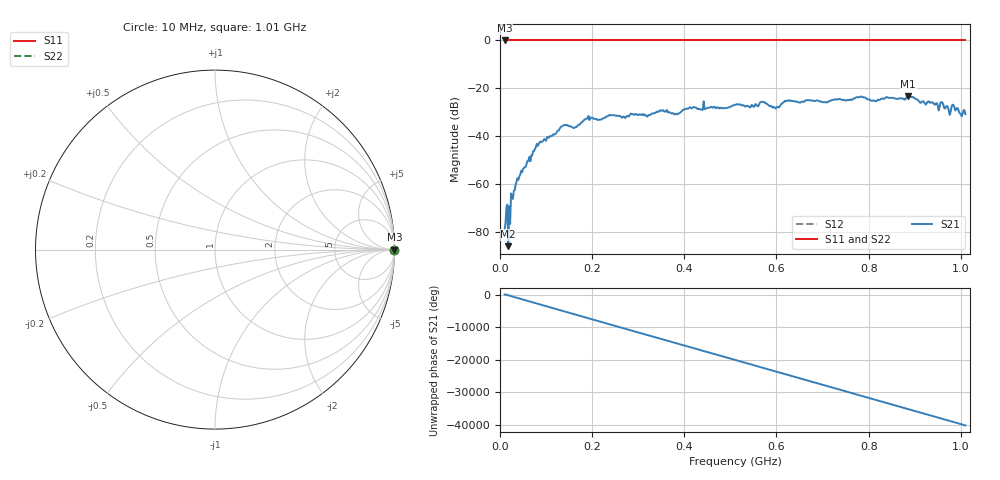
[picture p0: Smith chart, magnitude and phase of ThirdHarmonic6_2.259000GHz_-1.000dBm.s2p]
! 8/17/2025 2:46:35 AM
! C:\ANRITSUVNA\TEMP\TEMP.S2P
! CHANNEL.1
! TR.MEASUREMENT
! RAW.DATA
! RF.CORRECTION.OFF
! AVERAGING.OFF
! IF.BANDWIDTH: 5KHZ
! SWEEPTYPE:  FREQ.SWEEP(Linear)
! Reference Plane Port Info
! PORT:  PORT1  PORT2
! DISTANCE:  0  m  0  m
! TIME:  0  s  0  s
! PHASE.OFFSET:  0  deg.  0  deg.
! LOSS:  0  dB  0  dB
! REF.LOSS:  0  dB  0  dB
! REF.FREQ:  0  Hz  0  Hz
! Power Info
! POWER:  -20  dBm  -20  dBm
! EFF.POWER:  -20  dBm  -20  dBm
! SOURCE.ATTEN:  0  dB  0  dB
! TEST.ATTEN:  0  dB  0  dB
# GHZ S RI R 50.0
! FREQ.GHZ  S11RE  S11IM  S21RE  S21IM  S12RE  S12IM  S22RE  S22IM
!; PortSelection: Port_12
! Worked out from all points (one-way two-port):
!   501 points, 10 MHz to 1.01 GHz, reference 50 ohm
!   highest |S21| = -23.14 dB at 886 MHz (marker M1); lowest = -85.7 dB at 18 MHz (marker M2)
!   lowest |S11| = 0.0 dB at 10 MHz (marker M3)
!   |S11| at or under -10 dB: nowhere
!   |S22| runs from 0.0 to 0.0 dB; largest |S21 - S12| = 1.1
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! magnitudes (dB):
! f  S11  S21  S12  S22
! 10 MHz  0.0  -78.7  0.0  0.0
! 18 MHz  0.0  -85.7  0.0  0.0
! 22 MHz  0.0  -76.4  0.0  0.0
! 28 MHz  0.0  -66.0  0.0  0.0
! 38 MHz  0.0  -57.4  0.0  0.0
! 82 MHz  0.0  -43.9  0.0  0.0
! 136 MHz  0.0  -35.6  0.0  0.0
! 162 MHz  0.0  -36.2  0.0  0.0
! 178 MHz  0.0  -34.0  0.0  0.0
! 188 MHz  0.0  -32.5  0.0  0.0
! 344 MHz  0.0  -29.7  0.0  0.0
! 382 MHz  0.0  -30.5  0.0  0.0
! 416 MHz  0.0  -28.3  0.0  0.0
! 510 MHz  0.0  -26.8  0.0  0.0
! 546 MHz  0.0  -26.9  0.0  0.0
! 570 MHz  0.0  -25.6  0.0  0.0
! 600 MHz  0.0  -28.0  0.0  0.0
! 622 MHz  0.0  -25.2  0.0  0.0
! 678 MHz  0.0  -25.1  0.0  0.0
! 844 MHz  0.0  -23.9  0.0  0.0
! 886 MHz  0.0  -23.1  0.0  0.0
! 1.01 GHz  0.0  -30.7  0.0  0.0
